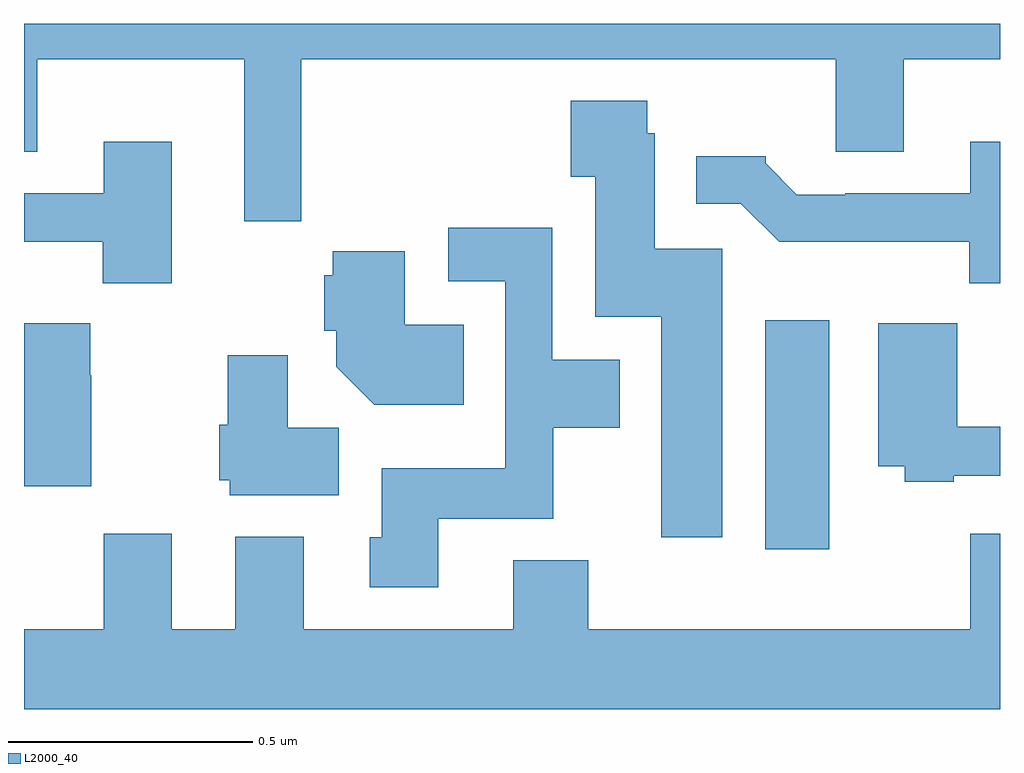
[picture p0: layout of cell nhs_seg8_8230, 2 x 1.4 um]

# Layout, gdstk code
import gdstk
lib = gdstk.Library(unit=1e-6, precision=1e-09)
def R(c, l, rs):  # rectangles x0, y0, x1, y1
    for r in rs: c.add(gdstk.rectangle(r[:2], r[2:], *l))
def P(c, l, *ps):  # polygons
    for p in ps: c.add(gdstk.Polygon(p, *l))
L2000_40 = (2000, 40)

nhs_seg8_8230 = lib.new_cell('nhs_seg8_8230')
R(nhs_seg8_8230, L2000_40, [(221.519,1120.824,221.65,1121.293)])
P(nhs_seg8_8230, L2000_40, [(220.568,1121.828),(221.663,1121.828),(221.663,1121.638),(221.803,1121.638),(221.803,1121.828),(222,1121.828),(222,1121.9),(220,1121.9),(220,1121.638),(220.027,1121.638),(220.027,1121.828),(220.451,1121.828),(220.451,1121.496),(220.568,1121.496)],
  [(221.431,1121.439),(221.293,1121.439),(221.293,1121.676),(221.277,1121.676),(221.277,1121.743),(221.12,1121.743),(221.12,1121.587),(221.171,1121.587),(221.171,1121.3),(221.306,1121.3),(221.306,1120.848),(221.431,1120.848)],
  [(220.303,1121.659),(220.163,1121.659),(220.163,1121.553),(220,1121.553),(220,1121.454),(220.161,1121.454),(220.161,1121.369),(220.303,1121.369)],
  [(222,1121.659),(221.939,1121.659),(221.939,1121.553),(221.683,1121.553),(221.683,1121.55),(221.584,1121.55),(221.52,1121.614),(221.52,1121.629),(221.378,1121.629),(221.378,1121.532),(221.469,1121.532),(221.548,1121.454),(221.937,1121.454),(221.937,1121.369),(222,1121.369)],
  [(220.849,1120.886),(221.085,1120.886),(221.085,1121.072),(221.221,1121.072),(221.221,1121.212),(221.082,1121.212),(221.082,1121.482),(220.869,1121.482),(220.869,1121.373),(220.986,1121.373),(220.986,1120.99),(220.733,1120.99),(220.733,1120.848),(220.709,1120.848),(220.709,1120.746),(220.849,1120.746)],
  [(220.901,1121.284),(220.78,1121.284),(220.78,1121.434),(220.633,1121.434),(220.633,1121.385),(220.615,1121.385),(220.615,1121.271),(220.64,1121.271),(220.64,1121.198),(220.718,1121.12),(220.901,1121.12)],
  [(221.905,1120.974),(222,1120.974),(222,1121.075),(221.912,1121.075),(221.912,1121.287),(221.75,1121.287),(221.75,1120.994),(221.805,1120.994),(221.805,1120.962),(221.905,1120.962)],
  [(220.138,1121.18),(220.136,1121.18),(220.136,1121.287),(220,1121.287),(220,1120.953),(220.138,1120.953)],
  [(220.645,1121.072),(220.54,1121.072),(220.54,1121.221),(220.418,1121.221),(220.418,1121.079),(220.4,1121.079),(220.4,1120.965),(220.422,1120.965),(220.422,1120.934),(220.645,1120.934)],
  [(222,1120.855),(221.939,1120.855),(221.939,1120.66),(221.156,1120.66),(221.156,1120.801),(221.003,1120.801),(221.003,1120.66),(220.573,1120.66),(220.573,1120.849),(220.433,1120.849),(220.433,1120.66),(220.303,1120.66),(220.303,1120.855),(220.163,1120.855),(220.163,1120.66),(220,1120.66),(220,1120.496),(222,1120.496)])

lib.write_gds('nhs_seg8_8230.gds')
